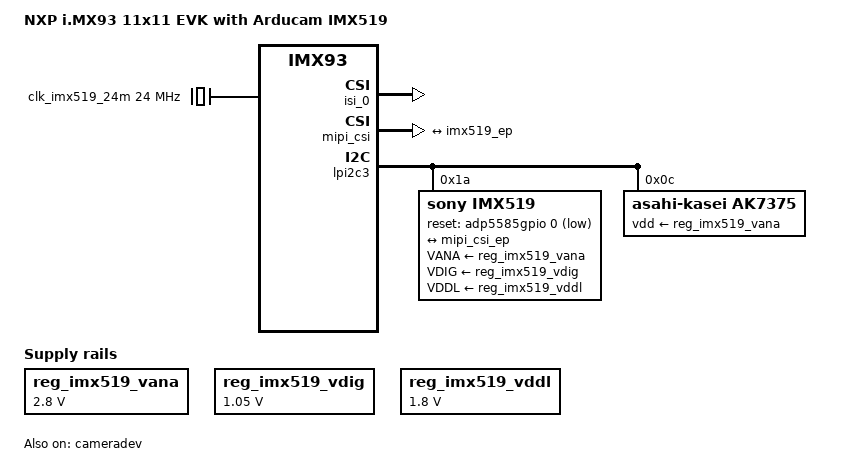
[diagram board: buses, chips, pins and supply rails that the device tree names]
// SPDX-License-Identifier: GPL-2.0
/*
 * i.MX93 11x11 EVK + Arducam IMX519, for linux-imx lf-6.1 / lf-6.6.
 *
 * REFERENCE ONLY, NEVER TESTED. This project was brought up on FRDM-i.MX93
 * running linux-imx 6.18.2; see imx93-11x11-frdm-imx519.dts.
 *
 * Those BSPs expose the capture path as isi_0 + cameradev + mipi_csi, and the
 * CSI-2 PHY rates come from hs-clk-range / cfg-clk-range in the device tree.
 * From lf-6.12 the graph is mipi_csi_in / mipi_csi_out / isi_in and the PHY is
 * programmed from V4L2_CID_LINK_FREQ instead, so use
 * imx93-11x11-evk-imx519.dts there.
 *
 * install-into-kernel.sh detects which of the two a kernel tree needs and
 * copies the right one as imx93-11x11-evk-imx519.dts.
 *
 * Boot:
 *   setenv fdtfile imx93-11x11-evk-imx519.dtb
 */
#include "imx93-11x11-evk.dts"

/ {
	model = "NXP i.MX93 11x11 EVK with Arducam IMX519";
	compatible = "fsl,imx93-11x11-evk-imx519", "fsl,imx93-11x11-evk",
		     "fsl,imx93";

	/*
	 * lf-6.6 has no IMX93_CLK_24M consumer binding for this node, so feed
	 * the sensor a fixed-clock description of the 24 MHz CAM_MCLK the
	 * connector already supplies.
	 */
	clk_imx519_24m: clock-imx519-24m {
		compatible = "fixed-clock";
		#clock-cells = <0>;
		clock-frequency = <24000000>;
		clock-output-names = "imx519_xclk";
	};

	/*
	 * The Arducam B0371 regulates its own rails from the 3.3 V the camera
	 * connector supplies, so model all three as always-on fixed regulators.
	 *
	 * Do not reuse the stock reg_avdd_2v8 / reg_vddio_1v8: those are gated
	 * by an ADP5585 I/O expander that belongs to NXP's camera module. With
	 * that module absent the expander never probes and the sensor is stuck
	 * in deferred probe ("supplier regulator-vddo not ready").
	 */
	reg_imx519_vana: regulator-imx519-vana {
		compatible = "regulator-fixed";
		regulator-name = "imx519_vana";
		regulator-min-microvolt = <2800000>;
		regulator-max-microvolt = <2800000>;
		regulator-always-on;
	};

	reg_imx519_vdig: regulator-imx519-vdig {
		compatible = "regulator-fixed";
		regulator-name = "imx519_vdig";
		regulator-min-microvolt = <1050000>;
		regulator-max-microvolt = <1050000>;
		regulator-always-on;
	};

	reg_imx519_vddl: regulator-imx519-vddl {
		compatible = "regulator-fixed";
		regulator-name = "imx519_vddl";
		regulator-min-microvolt = <1800000>;
		regulator-max-microvolt = <1800000>;
		regulator-always-on;
	};
};

&isi_0 {
	status = "okay";

	cap_device {
		status = "okay";
	};
};

&cameradev {
	status = "okay";
};

&mipi_csi {
	status = "okay";

	port {
		mipi_csi_ep: endpoint {
			remote-endpoint = <&imx519_ep>;

			/* Lane count on this binding, not a lane list. */
			data-lanes = <2>;

			/* 24 MHz CFGCLK encoding, as used by the stock AP1302. */
			cfg-clk-range = <28>;

			/*
			 * 816 Mbps/lane for the 408 MHz link. The stock AP1302
			 * value 0x2b is 1300 Mbps and will not lock this sensor.
			 */
			hs-clk-range = <0x19>;

			/* V4L2_FWNODE_BUS_TYPE_CSI2_DPHY */
			bus-type = <4>;
		};
	};
};

&lpi2c3 {
	/delete-node/ ap1302_mipi@3c;

	imx519: imx519@1a {
		compatible = "sony,imx519";
		reg = <0x1a>;
		status = "okay";

		clocks = <&clk_imx519_24m>;
		clock-names = "xclk";

		/* XCLR, on the expander line the AP1302 used for reset. */
		reset-gpios = <&adp5585gpio 0 GPIO_ACTIVE_LOW>;

		VANA-supply = <&reg_imx519_vana>;
		VDIG-supply = <&reg_imx519_vdig>;
		VDDL-supply = <&reg_imx519_vddl>;

		rotation = <0>;
		orientation = <2>;
		lens-focus = <&ak7375>;

		port {
			imx519_ep: endpoint {
				remote-endpoint = <&mipi_csi_ep>;
				clock-lanes = <0>;
				data-lanes = <1 2>;
				clock-noncontinuous;
				link-frequencies = /bits/ 64 <408000000>;
			};
		};
	};

	ak7375: ak7375@c {
		compatible = "asahi-kasei,ak7375";
		reg = <0x0c>;
		status = "okay";
		vdd-supply = <&reg_imx519_vana>;
	};
};
